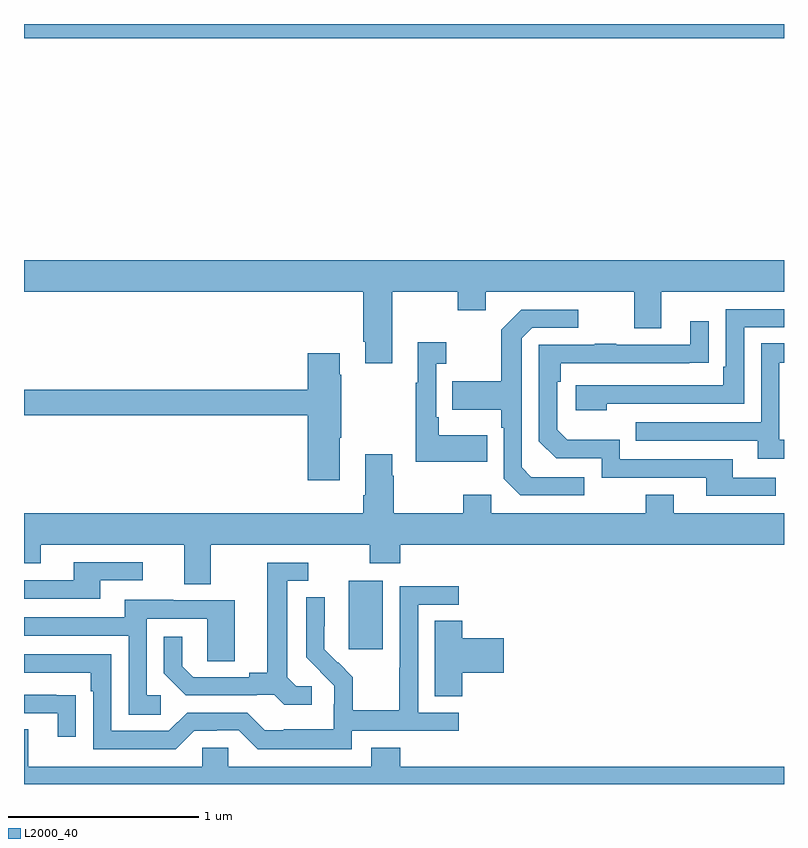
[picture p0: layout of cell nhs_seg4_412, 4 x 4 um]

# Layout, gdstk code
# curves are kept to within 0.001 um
import gdstk
lib = gdstk.Library(unit=1e-6, precision=1e-09)
def R(c, l, rs):  # rectangles x0, y0, x1, y1
    for r in rs: c.add(gdstk.rectangle(r[:2], r[2:], *l))
def P(c, l, *ps):  # polygons
    for p in ps: c.add(gdstk.Polygon(p, *l))
L2000_40 = (2000, 40)

nhs_seg4_412 = lib.new_cell('nhs_seg4_412')
R(nhs_seg4_412, L2000_40, [(132.71,789.609,132.889,789.97), (131,792.824,135,792.9)])
P(nhs_seg4_412, L2000_40, [(132.937,791.492),(133.282,791.492),(133.282,791.393),(133.429,791.393),(133.429,791.492),(134.213,791.492),(134.213,791.298),(134.353,791.298),(134.353,791.492),(135,791.492),(135,791.656),(131,791.656),(131,791.492),(132.785,791.492),(132.785,791.227),(132.797,791.227),(132.797,791.115),(132.937,791.115)],
  [(134.066,790.902),(134.79,790.902),(134.79,791.304),(135,791.304),(135,791.4),(134.694,791.4),(134.694,791.095),(134.681,791.095),(134.681,790.998),(133.905,790.998),(133.905,790.868),(134.066,790.868)],
  [(133.948,790.515),(133.671,790.515),(133.62,790.566),(133.62,791.247),(133.674,791.301),(133.918,791.301),(133.918,791.397),(133.617,791.397),(133.512,791.291),(133.512,791.019),(133.255,791.019),(133.255,790.871),(133.512,790.871),(133.512,790.775),(133.524,790.775),(133.524,790.506),(133.611,790.419),(133.948,790.419)],
  [(134.956,790.512),(134.731,790.512),(134.731,790.608),(134.136,790.608),(134.136,790.711),(133.859,790.711),(133.806,790.764),(133.806,791.018),(133.826,791.018),(133.826,791.115),(134.603,791.116),(134.603,791.335),(134.507,791.335),(134.507,791.211),(134.117,791.211),(134.117,791.216),(134.005,791.216),(134.005,791.211),(133.71,791.211),(133.71,790.704),(133.8,790.614),(134.04,790.614),(134.04,790.512),(134.591,790.512),(134.591,790.416),(134.956,790.416)],
  [(133.439,790.735),(133.183,790.735),(133.183,790.831),(133.17,790.831),(133.17,791.111),(133.222,791.111),(133.222,791.224),(133.073,791.224),(133.073,791.011),(133.062,791.011),(133.062,790.595),(133.439,790.595)],
  [(135,790.713),(134.976,790.713),(134.976,791.118),(135,791.118),(135,791.219),(134.88,791.219),(134.88,790.803),(134.221,790.803),(134.221,790.707),(134.861,790.707),(134.861,790.613),(135,790.613)],
  [(132.661,790.723),(132.669,790.723),(132.669,791.054),(132.661,791.054),(132.661,791.167),(132.494,791.167),(132.494,790.976),(131,790.976),(131,790.84),(132.494,790.84),(132.494,790.5),(132.661,790.5)],
  [(132.945,790.523),(132.937,790.523),(132.937,790.636),(132.797,790.636),(132.797,790.42),(132.785,790.42),(132.785,790.324),(131,790.324),(131,790.061),(131.089,790.061),(131.089,790.16),(131.843,790.16),(131.843,789.952),(131.983,789.952),(131.983,790.16),(132.82,790.16),(132.82,790.061),(132.98,790.061),(132.98,790.16),(135,790.16),(135,790.324),(134.419,790.324),(134.419,790.423),(134.272,790.423),(134.272,790.324),(133.458,790.324),(133.458,790.423),(133.312,790.423),(133.312,790.324),(132.945,790.324)],
  [(131.401,789.972),(131.626,789.972),(131.626,790.068),(131.261,790.068),(131.261,789.972),(131,789.972),(131,789.876),(131.401,789.876)],
  [(132.514,789.414),(132.432,789.414),(132.385,789.461),(132.385,789.969),(132.496,789.969),(132.496,790.065),(132.281,790.065),(132.281,789.485),(132.185,789.485),(132.185,789.462),(131.89,789.462),(131.833,789.519),(131.833,789.676),(131.736,789.676),(131.736,789.482),(131.852,789.366),(132.224,789.366),(132.224,789.369),(132.318,789.369),(132.37,789.317),(132.514,789.317)],
  [(132.726,789.18),(133.288,789.18),(133.288,789.276),(133.074,789.276),(133.074,789.843),(133.288,789.843),(133.288,789.942),(132.978,789.942),(132.978,789.512),(132.976,789.512),(132.976,789.289),(132.731,789.289),(132.731,789.463),(132.654,789.54),(132.651,789.537),(132.581,789.608),(132.582,789.884),(132.486,789.884),(132.486,789.566),(132.632,789.418),(132.632,789.321),(132.63,789.321),(132.63,789.187),(132.367,789.187),(132.367,789.183),(132.267,789.183),(132.174,789.276),(131.859,789.276),(131.763,789.18),(131.46,789.18),(131.46,789.582),(131,789.582),(131,789.486),(131.351,789.486),(131.351,789.389),(131.364,789.389),(131.364,789.084),(131.799,789.084),(131.895,789.18),(132.014,789.18),(132.014,789.183),(132.129,789.183),(132.229,789.083),(132.726,789.083)],
  [(131.719,789.366),(131.646,789.366),(131.646,789.771),(131.964,789.771),(131.964,789.547),(132.109,789.547),(132.109,789.867),(131.785,789.867),(131.785,789.871),(131.531,789.871),(131.531,789.777),(131,789.777),(131,789.681),(131.55,789.681),(131.55,789.265),(131.719,789.265)],
  [(133.307,789.485),(133.525,789.485),(133.525,789.668),(133.307,789.668),(133.307,789.758),(133.163,789.758),(133.163,789.361),(133.307,789.361)],
  [(131.273,789.368),(131.171,789.368),(131.171,789.369),(131,789.369),(131,789.273),(131.177,789.273),(131.177,789.15),(131.273,789.15)],
  [(135,788.992),(132.98,788.992),(132.98,789.091),(132.827,789.091),(132.827,788.992),(132.075,788.992),(132.075,789.09),(131.937,789.09),(131.937,788.992),(131.023,788.992),(131.023,789.187),(131,789.187),(131,788.9),(135,788.9)])

lib.write_gds('nhs_seg4_412.gds')
